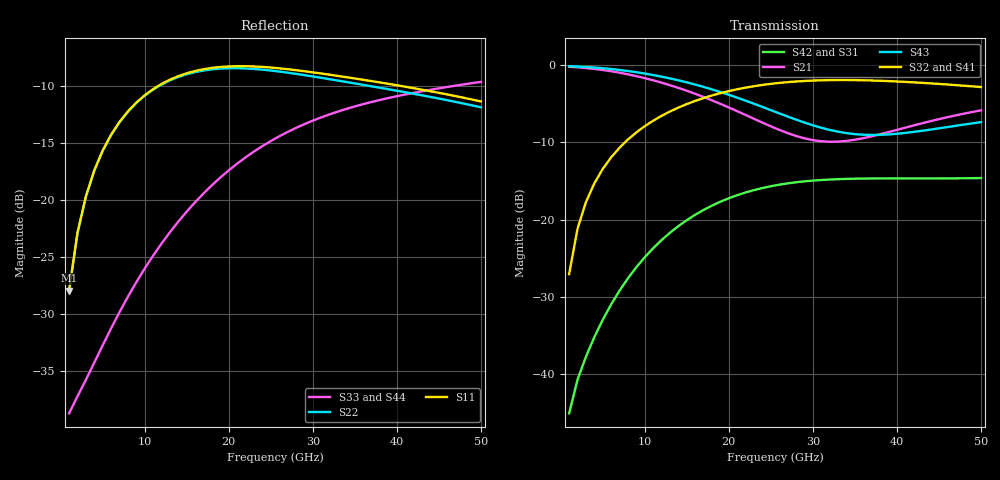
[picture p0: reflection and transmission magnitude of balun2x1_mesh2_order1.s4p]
! Created with skrf 2.1.0 (http://scikit-rf.org).
# GHz S DB R 50.0
! Port[1] = P1
! Port[2] = P2
! Port[3] = P3
! Port[4] = P4
!freq dBS11 angS11 dBS12 angS12 dBS13 angS13
! dBS14 angS14
! dBS21 angS21 dBS22 angS22 dBS23 angS23
! dBS24 angS24
! dBS31 angS31 dBS32 angS32 dBS33 angS33
! dBS34 angS34
! dBS41 angS41 dBS42 angS42 dBS43 angS43
! dBS44 angS44
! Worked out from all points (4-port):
!   50 points, 1 GHz to 50 GHz, reference 50 ohm
!   strongest paths, dB at 1 GHz, 13 GHz, 26 GHz, 38 GHz, 50 GHz:
!     S32: -27.1, -6.0, -2.3, -2.0, -2.8
!     S41: -27.1, -6.0, -2.3, -2.0, -2.9
!     S43: -0.1, -1.7, -6.2, -9.0, -7.4
!     S21: -0.2, -2.6, -8.4, -8.9, -5.8
!     S42: -45.1, -21.7, -15.5, -14.7, -14.6
!     S31: -45.1, -22.0, -15.9, -14.9, -14.7
!   lowest |S11| = -27.9 dB at 1 GHz (marker M1), VSWR 1.08, Z = 51.9 + j3.62 ohm
!   |S11| at or under -10 dB: start of sweep to 11.56 GHz; 40.63 GHz to end of sweep
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1  -27.94 60.3  -0.18 -5.4  -45.13 -124.9  -27.06 84.6
   -0.18 -5.4  -27.93 60.2  -27.06 84.6  -45.10 -125.2
   -45.13 -124.9  -27.06 84.6  -38.72 -8.9  -0.12 -2.8
   -27.06 84.6  -45.10 -125.2  -0.12 -2.8  -38.70 -8.9
3  -19.67 64.2  -0.36 -15.4  -37.87 -152.6  -17.73 77.4
   -0.36 -15.4  -19.67 63.8  -17.74 77.4  -37.76 -153.6
   -37.87 -152.6  -17.74 77.4  -35.77 -39.2  -0.22 -8.1
   -17.73 77.4  -37.76 -153.6  -0.22 -8.1  -35.69 -39.2
8  -12.21 45.0  -1.17 -40.0  -27.88 159.2  -9.62 58.9
   -1.17 -40.0  -12.23 44.2  -9.62 58.9  -27.61 157.8
   -27.88 159.2  -9.62 58.9  -28.48 -83.9  -0.75 -20.7
   -9.62 58.9  -27.61 157.8  -0.75 -20.7  -28.29 -83.4
16  -8.66 12.4  -3.70 -80.5  -19.74 103.3  -4.63 30.7
    -3.70 -80.5  -8.76 10.8  -4.62 30.7  -19.38 101.4
    -19.74 103.3  -4.62 30.7  -20.18 -134.3  -2.50 -38.4
    -4.63 30.7  -19.38 101.4  -2.50 -38.4  -19.94 -133.9
26  -8.43 -18.8  -8.37 -144.1  -15.86 52.6  -2.32 -1.7
    -8.37 -144.1  -8.71 -20.9  -2.29 -1.9  -15.48 49.9
    -15.86 52.6  -2.29 -1.9  -14.40 173.7  -6.23 -48.8
    -2.32 -1.7  -15.48 49.9  -6.23 -48.8  -14.15 173.7
38  -9.67 -44.2  -8.94 120.6  -14.94 13.2  -2.05 -34.3
    -8.94 120.6  -10.14 -45.8  -2.01 -34.8  -14.67 9.3
    -14.94 13.2  -2.01 -34.8  -11.21 128.4  -9.02 -31.9
    -2.05 -34.3  -14.67 9.3  -9.02 -31.9  -10.99 127.8
50  -11.34 -66.3  -5.84 68.6  -14.72 -11.0  -2.86 -59.2
    -5.84 68.6  -11.85 -67.7  -2.82 -60.0  -14.62 -15.5
    -14.72 -11.0  -2.82 -60.0  -9.62 98.4  -7.37 -24.3
    -2.86 -59.2  -14.62 -15.5  -7.37 -24.3  -9.45 97.2
